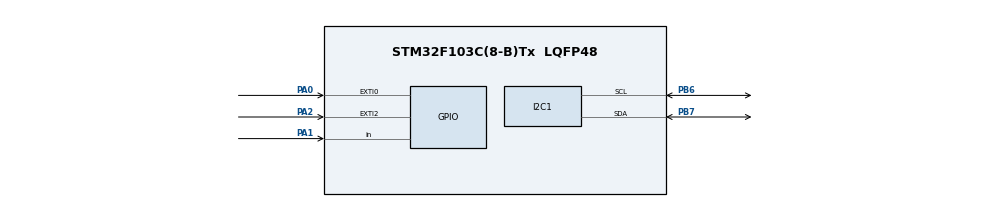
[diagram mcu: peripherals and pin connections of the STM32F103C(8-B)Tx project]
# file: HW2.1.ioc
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Mcu.Family=STM32F1
Mcu.Name=STM32F103C(8-B)Tx
Mcu.Package=LQFP48
NVIC.EXTI0_IRQn=true\:0\:0\:false\:false\:true\:true\:true\:true
NVIC.EXTI2_IRQn=true\:0\:0\:false\:false\:true\:true\:true\:true
NVIC.PriorityGroup=NVIC_PRIORITYGROUP_4
PA0-WKUP.GPIO_ModeDefaultEXTI=GPIO_MODE_IT_FALLING
PA0-WKUP.GPIO_PuPd=GPIO_PULLUP
PA0-WKUP.Signal=GPXTI0
PA1.GPIO_PuPd=GPIO_PULLUP
PA1.Signal=GPIO_Input
PA13.Mode=Serial_Wire
PA13.Signal=SYS_JTMS-SWDIO
PA14.Mode=Serial_Wire
PA14.Signal=SYS_JTCK-SWCLK
PA2.GPIO_ModeDefaultEXTI=GPIO_MODE_IT_FALLING
PA2.GPIO_PuPd=GPIO_PULLUP
PA2.Signal=GPXTI2
PB6.Mode=I2C
PB6.Signal=I2C1_SCL
PB7.Mode=I2C
PB7.Signal=I2C1_SDA
ProjectManager.HeapSize=0x200
ProjectManager.StackSize=0x400
ProjectManager.TargetToolchain=MDK-ARM V5.32
RCC.APB1Freq_Value=8000000
RCC.APB2Freq_Value=8000000
board=custom

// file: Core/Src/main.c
/* USER CODE BEGIN Header */
/**
  ******************************************************************************
  * @file           : main.c
  * @brief          : Main program body
  ******************************************************************************
  * @attention
  *
  * Copyright (c) 2026 STMicroelectronics.
  * All rights reserved.
  *
  * This software is licensed under terms that can be found in the LICENSE file
  * in the root directory of this software component.
  * If no LICENSE file comes with this software, it is provided AS-IS.
  *
  ******************************************************************************
  */
/* USER CODE END Header */
#include "main.h"
#include "i2c.h"
#include "gpio.h"

/* USER CODE BEGIN Includes */
#include "OLED.h"
/* USER CODE END Includes */

/* USER CODE BEGIN PV */
int16_t angle=0;
uint8_t press=0;

/* USER CODE END PV */

void SystemClock_Config(void);

/* USER CODE BEGIN 0 */
void HAL_GPIO_EXTI_Callback(uint16_t GPIO_Pin)
{
  if(GPIO_Pin == GPIO_PIN_0)
  {
    if(HAL_GPIO_ReadPin(GPIOA,GPIO_PIN_1)==GPIO_PIN_SET)
    {
      angle ++;
    }
    else
    {
      angle --;
    }
  }
  if(GPIO_Pin == GPIO_PIN_2)
  {press=1;}}
/* USER CODE END 0 */

int main(void)
{

  /* MCU Configuration--------------------------------------------------------*/

  /* Reset of all peripherals, Initializes the Flash interface and the Systick. */
  HAL_Init();

  /* Configure the system clock */
  SystemClock_Config();

  /* Initialize all configured peripherals */
  MX_GPIO_Init();
  MX_I2C1_Init();
  /* USER CODE BEGIN 2 */
  HAL_Init();
  SystemClock_Config();
  MX_GPIO_Init();
  MX_I2C1_Init();
  OLED_ShowString(1,1,"Hello World");
  /* USER CODE END 2 */

  /* Infinite loop */
  /* USER CODE BEGIN WHILE */

  while (1)
  {
		OLED_ShowString(2,1,"Angle:");
    OLED_ShowNum(2,7,angle,4);
    if(press == 1){
      OLED_ShowString(3,1,"press");
      press = 0;}
    /* USER CODE END WHILE */

    /* USER CODE BEGIN 3 */
		OLED_ShowString(1,1,"Hello World");
  }

  /* USER CODE END 3 */
}

void SystemClock_Config(void)
{
  RCC_OscInitTypeDef RCC_OscInitStruct = {0};
  RCC_ClkInitTypeDef RCC_ClkInitStruct = {0};

  /** Initializes the RCC Oscillators according to the specified parameters
  * in the RCC_OscInitTypeDef structure.
  */
  RCC_OscInitStruct.OscillatorType = RCC_OSCILLATORTYPE_HSI;
  RCC_OscInitStruct.HSIState = RCC_HSI_ON;
  RCC_OscInitStruct.HSICalibrationValue = RCC_HSICALIBRATION_DEFAULT;
  RCC_OscInitStruct.PLL.PLLState = RCC_PLL_NONE;
  if (HAL_RCC_OscConfig(&RCC_OscInitStruct) != HAL_OK)
  {
    Error_Handler();
  }

  /** Initializes the CPU, AHB and APB buses clocks
  */
  RCC_ClkInitStruct.ClockType = RCC_CLOCKTYPE_HCLK|RCC_CLOCKTYPE_SYSCLK
                              |RCC_CLOCKTYPE_PCLK1|RCC_CLOCKTYPE_PCLK2;
  RCC_ClkInitStruct.SYSCLKSource = RCC_SYSCLKSOURCE_HSI;
  RCC_ClkInitStruct.AHBCLKDivider = RCC_SYSCLK_DIV1;
  RCC_ClkInitStruct.APB1CLKDivider = RCC_HCLK_DIV1;
  RCC_ClkInitStruct.APB2CLKDivider = RCC_HCLK_DIV1;

  if (HAL_RCC_ClockConfig(&RCC_ClkInitStruct, FLASH_LATENCY_0) != HAL_OK)
  {
    Error_Handler();
  }
}

void Error_Handler(void)
{
  __disable_irq();
  while (1)
  {
  }
}
